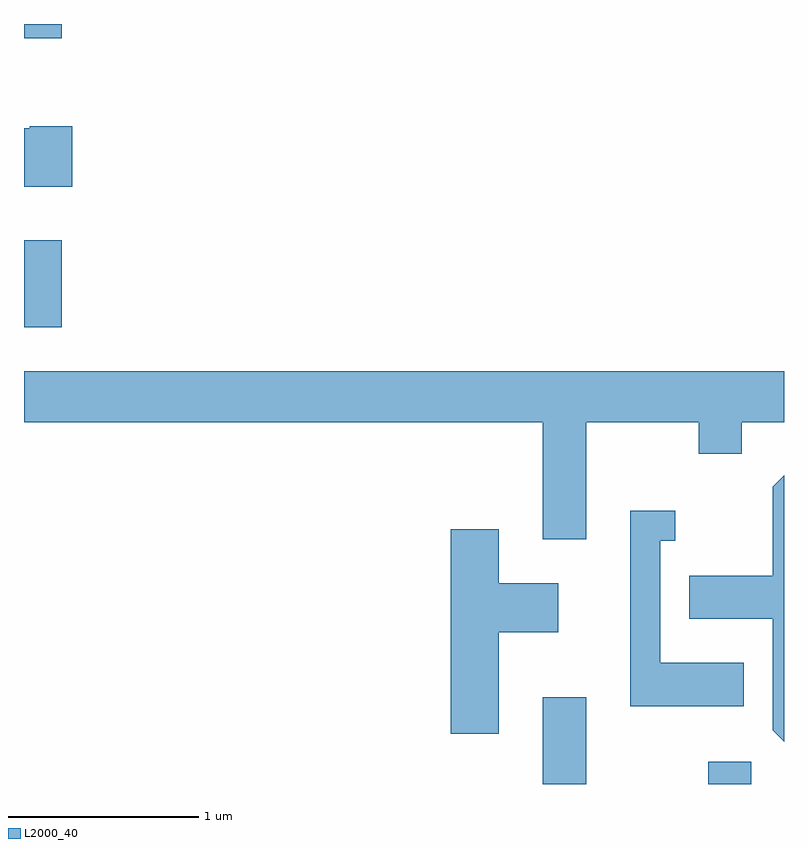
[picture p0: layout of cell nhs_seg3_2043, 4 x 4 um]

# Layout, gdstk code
import gdstk
lib = gdstk.Library(unit=1e-6, precision=1e-09)
def R(c, l, rs):  # rectangles x0, y0, x1, y1
    for r in rs: c.add(gdstk.rectangle(r[:2], r[2:], *l))
def P(c, l, *ps):  # polygons
    for p in ps: c.add(gdstk.Polygon(p, *l))
L2000_40 = (2000, 40)

nhs_seg3_2043 = lib.new_cell('nhs_seg3_2043')
R(nhs_seg3_2043, L2000_40, [(248.341,1121.892,248.569,1122.349), (249.211,1121.892,249.439,1122.009), (245.611,1124.296,245.809,1124.754), (245.611,1125.816,245.809,1125.892)])
P(nhs_seg3_2043, L2000_40, [(245.864,1125.354),(245.64,1125.354),(245.64,1125.344),(245.611,1125.344),(245.611,1125.036),(245.864,1125.036)],
  [(248.569,1123.796),(249.161,1123.796),(249.161,1123.631),(249.389,1123.631),(249.389,1123.796),(249.611,1123.796),(249.611,1124.064),(245.611,1124.064),(245.611,1123.796),(248.341,1123.796),(248.341,1123.181),(248.569,1123.181)],
  [(249.611,1123.517),(249.551,1123.457),(249.551,1122.989),(249.111,1122.989),(249.111,1122.761),(249.551,1122.761),(249.551,1122.174),(249.611,1122.114)],
  [(249.399,1122.529),(248.959,1122.529),(248.959,1123.171),(249.038,1123.171),(249.038,1123.329),(248.801,1123.329),(248.801,1122.301),(249.399,1122.301)],
  [(248.109,1122.691),(248.424,1122.691),(248.424,1122.949),(248.109,1122.949),(248.109,1123.234),(247.856,1123.234),(247.856,1122.156),(248.109,1122.156)])

lib.write_gds('nhs_seg3_2043.gds')
